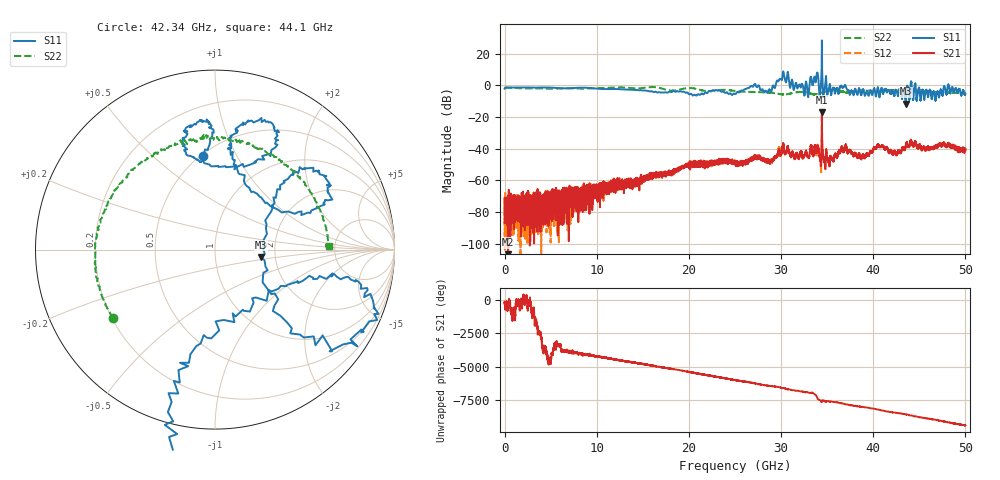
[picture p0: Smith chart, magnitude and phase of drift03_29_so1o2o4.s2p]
!Created with skrf (http://scikit-rf.org).
# Hz S RI R 50.0
!freq ReS11 ImS11 ReS21 ImS21 ReS12 ImS12 ReS22 ImS22
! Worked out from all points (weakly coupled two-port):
!   10000 points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, 5.3 MHz to 50 GHz, reference 50 ohm
!   highest |S21| = -16.85 dB at 34.43 GHz (marker M1); lowest = -107.3 dB at 385.3 MHz (marker M2)
!   lowest |S11| = -11.7 dB at 43.53 GHz (marker M3), VSWR 1.71, Z = 84.4 - j7.43 ohm
!   |S11| at or under -10 dB: 43.49192 GHz to 43.55391 GHz (61.99 MHz wide, 0.142 % of centre)
!   |S22| runs from -5.8 to -1.1 dB; largest |S21 - S12| = 0.048
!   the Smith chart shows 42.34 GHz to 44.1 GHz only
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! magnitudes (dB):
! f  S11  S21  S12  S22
! 5.3 MHz  -2.1  -86.6  -71.0  -1.3
! 385.3 MHz  -1.4  -107.3  -79.4  -1.4
! 4.09 GHz  -1.4  -70.9  -76.1  -2.0
! 8.34 GHz  -1.5  -68.7  -69.4  -2.1
! 16.67 GHz  -4.4  -56.2  -57.2  -1.5
! 20.45 GHz  -6.5  -48.7  -48.7  -1.9
! 25.01 GHz  -5.5  -48.5  -49.4  -3.5
! 27.02 GHz  -0.4  -45.8  -45.9  -4.3
! 28.72 GHz  -2.5  -48.3  -47.6  -4.5
! 30.14 GHz  4.4  -40.7  -40.7  -5.7
! 32.74 GHz  2.0  -41.9  -42.2  -4.6
! 33.34 GHz  2.6  -39.6  -39.8  -5.6
! 33.82 GHz  4.0  -41.6  -42.3  -5.7
! 34.43 GHz  28.4  -16.8  -18.8  -4.6
! 35.29 GHz  0.6  -48.9  -47.0  -3.3
! 36.84 GHz  -0.7  -41.9  -41.3  -4.2
! 38.85 GHz  -2.9  -44.1  -44.1  -3.2
! 40.61 GHz  -4.7  -38.1  -38.6  -4.0
! 41.67 GHz  -3.0  -42.4  -42.4  -3.3
! 43.53 GHz  -11.7  -38.4  -38.9  -4.3
! 47.53 GHz  -6.5  -37.9  -37.7  -4.8
! 50 GHz  -5.2  -40.9  -41.3  -4.6
